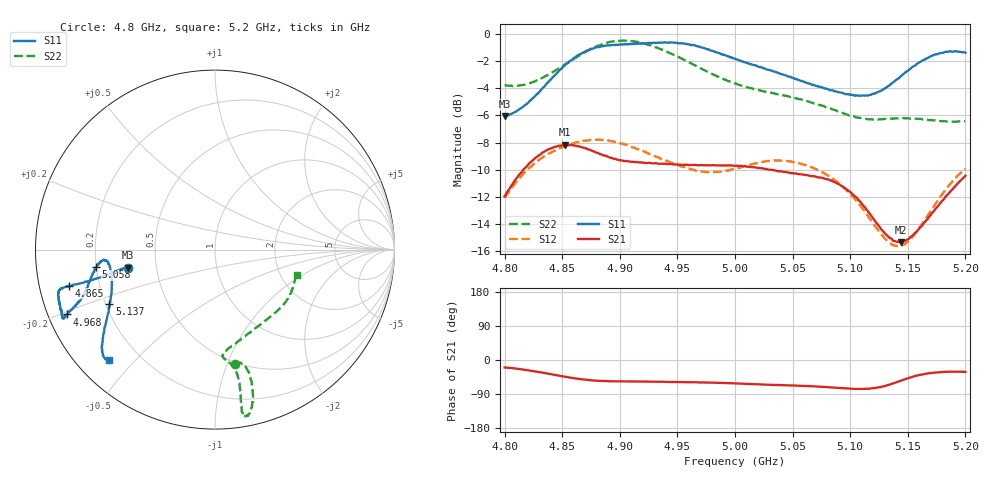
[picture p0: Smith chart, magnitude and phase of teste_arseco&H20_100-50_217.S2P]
! Network Analyzer HP8722D
! Hewlett-Packard
! Data name: Linha & Wilkinson
! Saver's name: Rodrigo Anjos
! Comments: Teste da utilização de aquisição
! continua pelo VNA HP8722D
! Time and date: 6/5/2025 14:22
!  Frequency  S11  S21  S12  S22
# HZ  S  MA R 50
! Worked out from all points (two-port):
!   401 points, 4.8 GHz to 5.2 GHz, reference 50 ohm
!   highest |S21| = -8.15 dB at 4.852 GHz (marker M1); lowest = -15.3 dB at 5.144 GHz (marker M2)
!   |S21| within 3 dB of the highest: 4.806 GHz to 5.092 GHz (285.9 MHz wide, 5.78 % of centre); 5.191746 GHz to end of sweep
!   lowest |S11| = -6.1 dB at 4.8 GHz (marker M3), VSWR 2.98, Z = 17 - j4.56 ohm
!   |S11| at or under -10 dB: nowhere
!   |S22| runs from -6.5 to -0.5 dB; largest |S21 - S12| = 0.62
!   S11 on the Smith chart (normalised r, x): 4.8 GHz: 0.34, -0.09; 4.865 GHz: 0.09, -0.12; 4.968 GHz: 0.06, -0.21; 5.058 GHz: 0.20, -0.07; 5.137 GHz: 0.21, -0.23; 5.2 GHz: 0.09, -0.42
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4.8e9  0.4969 -168.2  0.2527 -19.8  0.249 -140.9  0.6482 -80.3
4.823e9  0.5713 -167.6  0.3384 -28.2  0.3255 -144.0  0.6613 -76.0
4.852e9  0.7641 -165.9  0.3911 -44.0  0.3863 -149.6  0.7694 -74.6
4.865e9  0.8387 -166.2  0.3851 -50.1  0.4011 -151.9  0.8334 -75.3
4.867e9  0.8495 -166.0  0.3828 -50.9  0.4024 -152.1  0.8429 -75.5
4.881e9  0.8947 -165.4  0.3649 -54.8  0.4079 -154.5  0.9038 -76.9
4.901e9  0.9148 -162.4  0.3427 -56.4  0.3953 -156.8  0.9446 -79.4
4.934e9  0.9284 -156.6  0.3327 -57.6  0.3508 -155.7  0.8832 -80.5
4.968e9  0.8992 -156.3  0.3286 -59.1  0.3133 -147.7  0.7551 -79.6
5e9  0.8098 -159.2  0.3272 -61.8  0.3197 -137.4  0.6569 -81.3
5.032e9  0.7316 -164.7  0.3159 -65.6  0.3416 -134.4  0.6071 -85.4
5.058e9  0.6711 -171.5  0.3042 -68.2  0.3317 -136.1  0.5729 -84.5
5.067e9  0.6486 -173.2  0.3002 -69.3  0.3228 -136.8  0.5575 -82.6
5.082e9  0.6206 -174.7  0.2901 -72.0  0.2987 -138.4  0.5325 -77.1
5.102e9  0.5961 -171.8  0.257 -76.1  0.2528 -138.7  0.4972 -65.9
5.116e9  0.5941 -165.5  0.2207 -75.8  0.2122 -135.6  0.4852 -55.8
5.134e9  0.6454 -154.3  0.1778 -65.2  0.1705 -120.6  0.487 -43.3
5.137e9  0.6619 -152.6  0.1739 -62.3  0.1678 -116.7  0.4888 -41.5
5.144e9  0.6988 -148.9  0.1714 -54.5  0.1659 -107.6  0.489 -37.6
5.154e9  0.7562 -144.6  0.1813 -44.5  0.1794 -95.0  0.4882 -32.3
5.172e9  0.8345 -139.1  0.2213 -33.5  0.2303 -81.2  0.4805 -24.5
5.2e9  0.8525 -133.7  0.3006 -31.5  0.3189 -77.0  0.4771 -17.6
